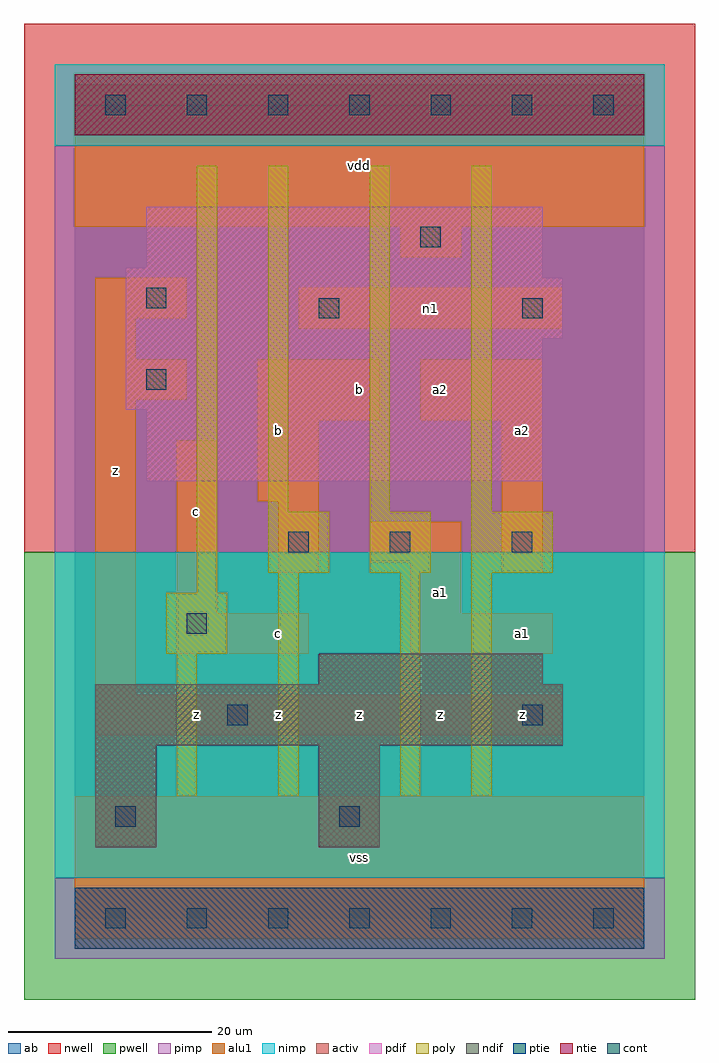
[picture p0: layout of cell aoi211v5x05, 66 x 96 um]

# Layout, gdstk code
import gdstk
lib = gdstk.Library(unit=1e-6, precision=1e-09)
def R(c, l, rs):  # rectangles x0, y0, x1, y1
    for r in rs: c.add(gdstk.rectangle(r[:2], r[2:], *l))
def A(c, l, x, y, w, h, nx, ny, dx, dy):  # array of equal rectangles
    R(c, l, [(x+i*dx, y+j*dy, x+i*dx+w, y+j*dy+h) for i in range(nx) for j in range(ny)])
ndif = (3, 0)
pdif = (4, 0)
ntie = (5, 0)
ptie = (6, 0)
cont = (25, 0)
pwell = (41, 0)
nwell = (42, 0)
activ = (43, 0)
pimp = (44, 0)
nimp = (45, 0)
poly = (46, 0)
alu1 = (49, 0)
ab = (63, 0)

aoi211v5x05 = lib.new_cell('aoi211v5x05')
R(aoi211v5x05, ndif, [(2,7,8,17), (24,7,30,17), (2,17,48,23), (24,23,46,26)])
R(aoi211v5x05, pdif, [(7,43,46,50), (5,50,46,57), (5,57,48,63), (5,63,46,64), (7,64,46,70)])
R(aoi211v5x05, ntie, [(0,77,56,83)])
R(aoi211v5x05, ptie, [(0,-3,56,3)])
A(aoi211v5x05, cont, 3, -1, 2, 2, 7, 2, 8, 80)
R(aoi211v5x05, cont, [(4,9,6,11), (26,9,28,11), (15,19,17,21), (44,19,46,21), (11,28,13,30), (21,36,23,38), (31,36,33,38), (43,36,45,38), (7,52,9,54), (24,59,26,61), (44,59,46,61), (7,60,9,62), (34,66,36,68)])
R(aoi211v5x05, pwell, [(-5,-8,61,36)])
R(aoi211v5x05, nwell, [(-5,36,61,88)])
R(aoi211v5x05, activ, [(0,-3,56,3), (2,7,8,17), (24,7,30,17), (2,17,48,23), (24,23,46,26), (7,43,46,50), (5,50,46,57), (5,57,48,63), (5,63,46,64), (7,64,46,70), (0,77,56,83)])
R(aoi211v5x05, pimp, [(-2,-4,58,4), (-2,36,58,76)])
R(aoi211v5x05, nimp, [(-2,4,58,36), (-2,76,58,84)])
A(aoi211v5x05, poly, 19, 40, 2, 34, 3, 1, 10, 0)
R(aoi211v5x05, poly, [(10,12,12,26), (20,12,22,34), (32,12,34,34), (39,12,41,34), (9,26,15,32), (12,32,14,74), (19,34,25,40), (29,34,35,40), (39,34,47,40)])
R(aoi211v5x05, alu1, [(0,-2,56,12), (2,18,48,22), (2,22,6,51), (10,26,23,30), (33,26,47,30), (10,30,14,47), (33,30,38,35), (20,34,24,41), (42,34,46,49), (29,35,38,39), (18,41,24,49), (18,49,30,55), (34,49,46,55), (2,51,11,55), (2,55,6,59), (22,58,48,62), (2,59,11,63), (32,65,38,68), (0,68,56,82)])
R(aoi211v5x05, ab, [(0,0,56,80)])
aoi211v5x05.add(gdstk.Label('n1', (35,60), layer=49, texttype=0))
aoi211v5x05.add(gdstk.Label('z', (4,44), layer=49, texttype=0))
aoi211v5x05.add(gdstk.Label('z', (20,20), layer=49, texttype=0))
aoi211v5x05.add(gdstk.Label('z', (12,20), layer=49, texttype=0))
aoi211v5x05.add(gdstk.Label('c', (20,28), layer=49, texttype=0))
aoi211v5x05.add(gdstk.Label('c', (12,40), layer=49, texttype=0))
aoi211v5x05.add(gdstk.Label('b', (20,48), layer=49, texttype=0))
aoi211v5x05.add(gdstk.Label('vss', (28,6), layer=49, texttype=0))
aoi211v5x05.add(gdstk.Label('z', (36,20), layer=49, texttype=0))
aoi211v5x05.add(gdstk.Label('z', (28,20), layer=49, texttype=0))
aoi211v5x05.add(gdstk.Label('a1', (36,32), layer=49, texttype=0))
aoi211v5x05.add(gdstk.Label('b', (28,52), layer=49, texttype=0))
aoi211v5x05.add(gdstk.Label('a2', (36,52), layer=49, texttype=0))
aoi211v5x05.add(gdstk.Label('vdd', (28,74), layer=49, texttype=0))
aoi211v5x05.add(gdstk.Label('z', (44,20), layer=49, texttype=0))
aoi211v5x05.add(gdstk.Label('a1', (44,28), layer=49, texttype=0))
aoi211v5x05.add(gdstk.Label('a2', (44,48), layer=49, texttype=0))

lib.write_gds('aoi211v5x05.gds')
